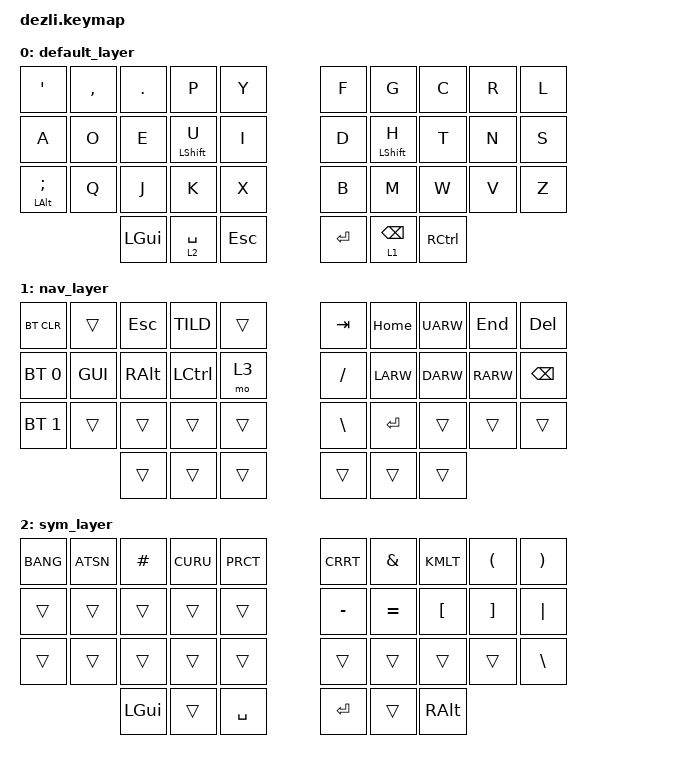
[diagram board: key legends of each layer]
/*
 * Copyright (c) 2020 The ZMK Contributors
 *
 * SPDX-License-Identifier: MIT
 */

#include <behaviors.dtsi>
#include <dt-bindings/zmk/keys.h>
#include <dt-bindings/zmk/bt.h>

#define default_layer 0
#define nav_layer   1
#define sym_layer   2

/ {
        keymap {
                compatible = "zmk,keymap";

                default_layer {
                        bindings = <
   &kp SQT  &kp CMMA &kp DOT &kp P &kp Y &kp F &kp G  &kp C &kp R &kp L
   &kp A    &kp O    &kp E   &mt LSHFT U &kp I &kp D &mt LSHFT H &kp T &kp N &kp S
   &mt LALT SEMI &kp Q    &kp J   &kp K &kp X &kp B &kp M  &kp W &kp V &kp Z
   &kp LGUI &lt 2 SPACE &kp ESC   &kp RET &lt 1 BSPC &kp RCTRL
                        >;
                };
                nav_layer {
                        bindings = <
   &bt BT_CLR   &trans  &kp ESC  &kp TILD &trans     &kp TAB  &kp HOME &kp UARW &kp END  &kp DEL
   &bt BT_SEL 0 &kp GUI &kp RALT &kp LCTL &mo 3      &kp FSLH &kp LARW &kp DARW &kp RARW &kp BKSP
   &bt BT_SEL 1 &trans  &trans   &trans   &trans     &kp BSLH &kp RET  &trans   &trans    &trans
                        &trans   &trans   &trans     &trans   &trans   &trans
                        >;
                };

                sym_layer {
                        bindings = <
   &kp BANG  &kp ATSN  &kp HASH  &kp CURU  &kp PRCT    &kp CRRT  &kp AMPS &kp KMLT &kp LPRN &kp RPRN
   &trans    &trans    &trans    &trans    &trans      &kp MINUS &kp EQL  &kp LBKT &kp RBKT &kp PIPE
   &trans    &trans    &trans    &trans    &trans      &trans    &trans   &trans   &trans   &kp BSLH
                       &kp LGUI  &trans    &kp SPC     &kp RET   &trans   &kp RALT
                        >;
                };

        };
};
